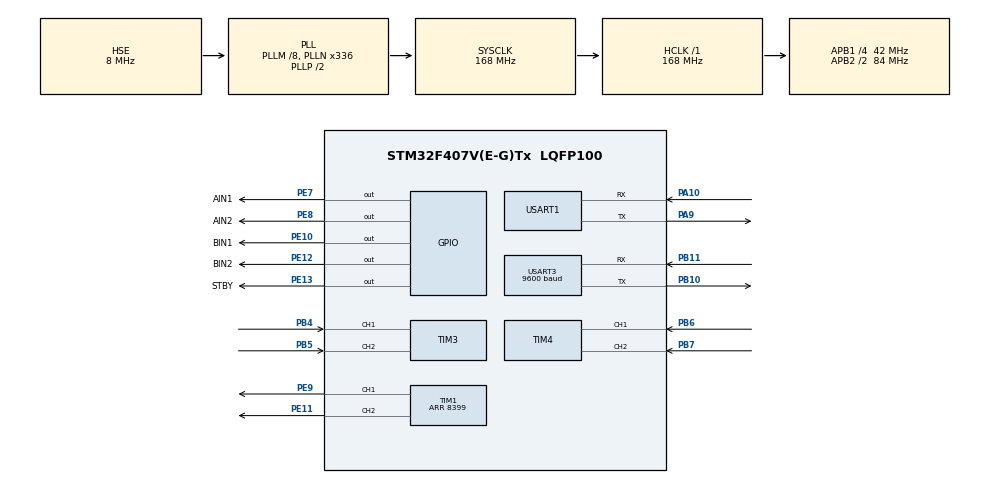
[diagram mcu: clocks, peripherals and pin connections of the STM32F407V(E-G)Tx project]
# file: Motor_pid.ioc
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Mcu.Family=STM32F4
Mcu.Name=STM32F407V(E-G)Tx
Mcu.Package=LQFP100
NVIC.PriorityGroup=NVIC_PRIORITYGROUP_4
NVIC.TIM6_DAC_IRQn=true\:15\:0\:false\:false\:true\:false\:true\:true
NVIC.TimeBase=TIM6_DAC_IRQn
NVIC.TimeBaseIP=TIM6
PA10.GPIO_PuPd=GPIO_PULLUP
PA10.GPIO_Speed=GPIO_SPEED_FREQ_MEDIUM
PA10.Mode=Asynchronous
PA10.Signal=USART1_RX
PA13.Mode=Serial_Wire
PA13.Signal=SYS_JTMS-SWDIO
PA14.Mode=Serial_Wire
PA14.Signal=SYS_JTCK-SWCLK
PA9.GPIO_ModeDefaultPP=GPIO_MODE_AF_PP
PA9.GPIO_Speed=GPIO_SPEED_FREQ_MEDIUM
PA9.Mode=Asynchronous
PA9.Signal=USART1_TX
PB10.GPIO_Speed=GPIO_SPEED_FREQ_MEDIUM
PB10.Mode=Asynchronous
PB10.Signal=USART3_TX
PB11.GPIO_PuPd=GPIO_PULLUP
PB11.GPIO_Speed=GPIO_SPEED_FREQ_MEDIUM
PB11.Mode=Asynchronous
PB11.Signal=USART3_RX
PB4.GPIO_PuPd=GPIO_PULLUP
PB4.Signal=S_TIM3_CH1
PB5.GPIO_PuPd=GPIO_PULLUP
PB5.Signal=S_TIM3_CH2
PB6.GPIO_PuPd=GPIO_PULLUP
PB6.Signal=S_TIM4_CH1
PB7.GPIO_PuPd=GPIO_PULLUP
PB7.Signal=S_TIM4_CH2
PE10.GPIO_Label=BIN1
PE10.Signal=GPIO_Output
PE11.GPIO_Speed=GPIO_SPEED_FREQ_MEDIUM
PE11.Signal=S_TIM1_CH2
PE12.GPIO_Label=BIN2
PE12.Signal=GPIO_Output
PE13.GPIO_Label=STBY
PE13.Signal=GPIO_Output
PE7.GPIO_Label=AIN1
PE7.GPIO_ModeDefaultOutputPP=GPIO_MODE_OUTPUT_PP
PE7.Signal=GPIO_Output
PE8.GPIO_Label=AIN2
PE8.GPIO_ModeDefaultOutputPP=GPIO_MODE_OUTPUT_PP
PE8.Signal=GPIO_Output
PE9.GPIO_ModeDefaultPP=GPIO_MODE_AF_PP
PE9.GPIO_PuPd=GPIO_NOPULL
PE9.GPIO_Speed=GPIO_SPEED_FREQ_MEDIUM
PE9.Signal=S_TIM1_CH1
PH0-OSC_IN.Mode=HSE-External-Oscillator
PH0-OSC_IN.Signal=RCC_OSC_IN
PH1-OSC_OUT.Mode=HSE-External-Oscillator
PH1-OSC_OUT.Signal=RCC_OSC_OUT
ProjectManager.HeapSize=0x200
ProjectManager.StackSize=0x400
ProjectManager.TargetToolchain=MDK-ARM V5.32
RCC.48MHZClocksFreq_Value=84000000
RCC.AHBFreq_Value=168000000
RCC.APB1CLKDivider=RCC_HCLK_DIV4
RCC.APB1Freq_Value=42000000
RCC.APB1TimFreq_Value=84000000
RCC.APB2CLKDivider=RCC_HCLK_DIV2
RCC.APB2Freq_Value=84000000
RCC.APB2TimFreq_Value=168000000
RCC.CortexFreq_Value=168000000
RCC.HCLKFreq_Value=168000000
RCC.HSE_VALUE=8000000
RCC.HSI_VALUE=16000000
RCC.LSE_VALUE=32768
RCC.PLLM=8
RCC.PLLN=336
RCC.PLLSourceVirtual=RCC_PLLSOURCE_HSE
RCC.SYSCLKFreq_VALUE=168000000
RCC.SYSCLKSource=RCC_SYSCLKSOURCE_PLLCLK
RCC.VCOOutputFreq_Value=336000000
SH.S_TIM1_CH1.0=TIM1_CH1,PWM Generation1 CH1
SH.S_TIM1_CH2.0=TIM1_CH2,PWM Generation2 CH2
SH.S_TIM3_CH1.0=TIM3_CH1,Encoder_Interface
SH.S_TIM3_CH2.0=TIM3_CH2,Encoder_Interface
SH.S_TIM4_CH1.0=TIM4_CH1,Encoder_Interface
SH.S_TIM4_CH2.0=TIM4_CH2,Encoder_Interface
TIM1.AutoReloadPreload=TIM_AUTORELOAD_PRELOAD_ENABLE
TIM1.Channel-PWM\ Generation1\ CH1=TIM_CHANNEL_1
TIM1.Channel-PWM\ Generation2\ CH2=TIM_CHANNEL_2
TIM1.Period=8399
TIM1.Pulse-PWM\ Generation1\ CH1=500
TIM1.Pulse-PWM\ Generation2\ CH2=500
TIM3.EncoderMode=TIM_ENCODERMODE_TI12
TIM3.IC1Filter=10
TIM3.IC2Filter=10
TIM4.EncoderMode=TIM_ENCODERMODE_TI12
TIM4.IC1Filter=10
TIM4.IC2Filter=10
USART1.VirtualMode=VM_ASYNC
USART3.BaudRate=9600
USART3.VirtualMode=VM_ASYNC
VP_SYS_VS_tim6.Mode=TIM6
board=custom

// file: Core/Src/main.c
/* USER CODE BEGIN Header */
/**
  ******************************************************************************
  * @file           : main.c
  * @brief          : Main program body
  ******************************************************************************
  * @attention
  *
  * Copyright (c) 2026 STMicroelectronics.
  * All rights reserved.
  *
  * This software is licensed under terms that can be found in the LICENSE file
  * in the root directory of this software component.
  * If no LICENSE file comes with this software, it is provided AS-IS.
  *
  ******************************************************************************
  */
/* USER CODE END Header */
/* main.h: 包含 STM32 HAL 全部驱动头文件 */
#include "main.h"
/* tim.h: 声明 htim1/htim3/htim4 和 MX_TIMx_Init */
#include "tim.h"
/* usart.h: 声明 huart1/huart3 和串口初始化函数 */
#include "usart.h"
/* gpio.h: 声明 MX_GPIO_Init */
#include "gpio.h"
#include "stdio.h"
/* rtthread.h: RT-Thread 内核 API（这里用来让 main 线程睡眠让出 CPU） */
#include "rtthread.h"

/* USER CODE BEGIN Includes */
/* 用户自己写的三个模块：电机、编码器、应用任务 */
#include "bsp_motor.h"
#include "bsp_encoder.h"
#include "app_task.h"
/* USER CODE END Includes */

void SystemClock_Config(void);

/* USER CODE BEGIN 0 */
extern volatile int rt_uart1_ready;   /* board.c 里定义的标志：UART1 是否可用 */

/* 让标准库 printf/sprintf 的最终输出走 USART1 */
int fputc(int ch, FILE *f)
{
    /* 把 printf 的每一个字符用串口发出去 */
    HAL_UART_Transmit(&huart1, (uint8_t *)&ch, 1, 0xFFFF);
    return ch;    /* 必须返回字符，printf 才认为发送成功 */
}
/* USER CODE END 0 */

int main(void)
{

  /* MCU Configuration--------------------------------------------------------*/

  /* 1) HAL 初始化：复位外设、配置中断分组、
        并把 TIM6 配成 HAL 自己的时基（HAL_IncTick） */
  HAL_Init();

  /* 2) 配置系统时钟：HSE + PLL → 168MHz */
  SystemClock_Config();

  /* 3) 初始化 CubeMX 里勾选的外设 */
  MX_GPIO_Init();
  MX_TIM1_Init();          /* TIM1：双路 PWM，周期 8399 → 20kHz */
  MX_TIM3_Init();          /* TIM3：电机 A 编码器 */
  MX_TIM4_Init();          /* TIM4：电机 B 编码器 */
  MX_USART1_UART_Init();   /* USART1：调试/命令/上报 115200 */
  MX_USART3_UART_Init();   /* USART3：预留（蓝牙等）9600 */
  /* USER CODE BEGIN 2 */
	/* 4) CPU 主频已从 16MHz 变成 168MHz，重新给 SysTick 装正确的定时值 */
	SysTick_Config(SystemCoreClock / RT_TICK_PER_SECOND);
	rt_uart1_ready = 1;   /* 5) USART1 就绪，允许 RT-Thread 控制台输出 */
	/* 5.1) 使能 USART1 接收中断：每收到一个字节立刻存进环形缓冲，
	       这样 ctrl 线程刷 0,0,0 时也不会丢串口命令 */
	HAL_NVIC_SetPriority(USART1_IRQn, 5, 0);
	HAL_NVIC_EnableIRQ(USART1_IRQn);
	__HAL_UART_ENABLE_IT(&huart1, UART_IT_RXNE);
	/* 上电自检提示：如果串口能看到这行字，说明 MCU、时钟、串口、RT-Thread 都正常 */
	rt_kprintf("\r\n[BOOT] system ready, try: rpm 60 / pwm a 300\r\n");
	Motor_Init();      /* 6) 电机：拉低 STBY、方向复位、PWM=0、启动 PWM 通道 */
	Encoder_Init();    /* 7) 编码器：启动 TIM3/TIM4 并清零 */
	App_Init();        /* 8) 应用：创建命令队列/互斥量/ctrl/bt 线程，最后使能电机 */
	/* 8.5) 上电提示：看到这行说明新固件已烧录成功、串口收发链路已通；
	        后面才是 ctrl 线程每 100ms 刷的 0,0,0 */
	rt_kprintf("\r\n[app] ready: send 'rpm 60' or 'pwm a 300'\r\n");
  /* USER CODE END 2 */

  /* Infinite loop */
  /* USER CODE BEGIN WHILE */
  while (1)    /* 9) 主线程空闲；真正的控制由 ctrl/bt 等 RT-Thread 线程完成 */
  {
    /* 关键：main 线程优先级(10)高于 FinSH 命令线程(21)。
       如果这里空转不睡眠，命令线程永远得不到 CPU，串口输入会完全失效，
       只会看到 ctrl 线程刷 0,0,0。睡 10ms 主动让出 CPU。 */
    rt_thread_mdelay(10);
    /* USER CODE END WHILE */

  }
}

void SystemClock_Config(void)
{
  /* 这两个结构体用来描述“时钟配置”，下面逐步填好再交给 HAL */
  RCC_OscInitTypeDef RCC_OscInitStruct = {0};
  RCC_ClkInitTypeDef RCC_ClkInitStruct = {0};

  /** Configure the main internal regulator output voltage
  */
  __HAL_RCC_PWR_CLK_ENABLE();                    /* 打开电源管理时钟 */
  /* F407 工作在 168MHz 需要把电压档设为 Scale1 */
  __HAL_PWR_VOLTAGESCALING_CONFIG(PWR_REGULATOR_VOLTAGE_SCALE1);

  /** Initializes the RCC Oscillators according to the specified parameters
  * in the RCC_OscInitTypeDef structure.
  */
  RCC_OscInitStruct.OscillatorType = RCC_OSCILLATORTYPE_HSE; /* 选外部晶振 */
  RCC_OscInitStruct.HSEState = RCC_HSE_ON;                    /* 打开 HSE */
  RCC_OscInitStruct.PLL.PLLState = RCC_PLL_ON;                /* 使用 PLL */
  RCC_OscInitStruct.PLL.PLLSource = RCC_PLLSOURCE_HSE;        /* PLL 输入=HSE */
  RCC_OscInitStruct.PLL.PLLM = 8;      /* HSE 8MHz ÷ 8 = 1MHz */
  RCC_OscInitStruct.PLL.PLLN = 336;    /* × 336 = 336MHz */
  RCC_OscInitStruct.PLL.PLLP = RCC_PLLP_DIV2; /* ÷ 2 = 168MHz 系统时钟 */
  RCC_OscInitStruct.PLL.PLLQ = 4;      /* 给 USB 等外设用的时钟 */
  if (HAL_RCC_OscConfig(&RCC_OscInitStruct) != HAL_OK)  /* 交给 HAL 执行 */
  {
    Error_Handler();      /* 时钟配置失败只能停在这里 */
  }

  /** Initializes the CPU, AHB and APB buses clocks
  */
  RCC_ClkInitStruct.ClockType = RCC_CLOCKTYPE_HCLK|RCC_CLOCKTYPE_SYSCLK
                              |RCC_CLOCKTYPE_PCLK1|RCC_CLOCKTYPE_PCLK2;
  RCC_ClkInitStruct.SYSCLKSource = RCC_SYSCLKSOURCE_PLLCLK; /* 系统时钟=PLL */
  RCC_ClkInitStruct.AHBCLKDivider = RCC_SYSCLK_DIV1;   /* AHB=168MHz */
  RCC_ClkInitStruct.APB1CLKDivider = RCC_HCLK_DIV4;    /* APB1=42MHz */
  RCC_ClkInitStruct.APB2CLKDivider = RCC_HCLK_DIV2;    /* APB2=84MHz */

  /* 烧录器延时 5 个周期；配置后 HAL 会自动重配 TIM6 时基 */
  if (HAL_RCC_ClockConfig(&RCC_ClkInitStruct, FLASH_LATENCY_5) != HAL_OK)
  {
    Error_Handler();      /* 总线时钟配置失败则停机 */
  }
}

void HAL_TIM_PeriodElapsedCallback(TIM_HandleTypeDef *htim)
{
  /* HAL 通用回调：哪个定时器周期到了，就会进这里 */
  if (htim->Instance == TIM6) {   /* 判断中断来自 TIM6 */
    HAL_IncTick();                /* HAL 自己的毫秒计数器 +1 */
  }
}

void Error_Handler(void)
{
  /* 任何 HAL 初始化失败都会调到这：关中断并死循环，方便调试 */
  /* USER CODE BEGIN Error_Handler_Debug */
  /* User can add his own implementation to report the HAL error return state */
  __disable_irq();    /* 关掉所有中断 */
  while (1)           /* 永久停住 */
  {
  }
  /* USER CODE END Error_Handler_Debug */
}
